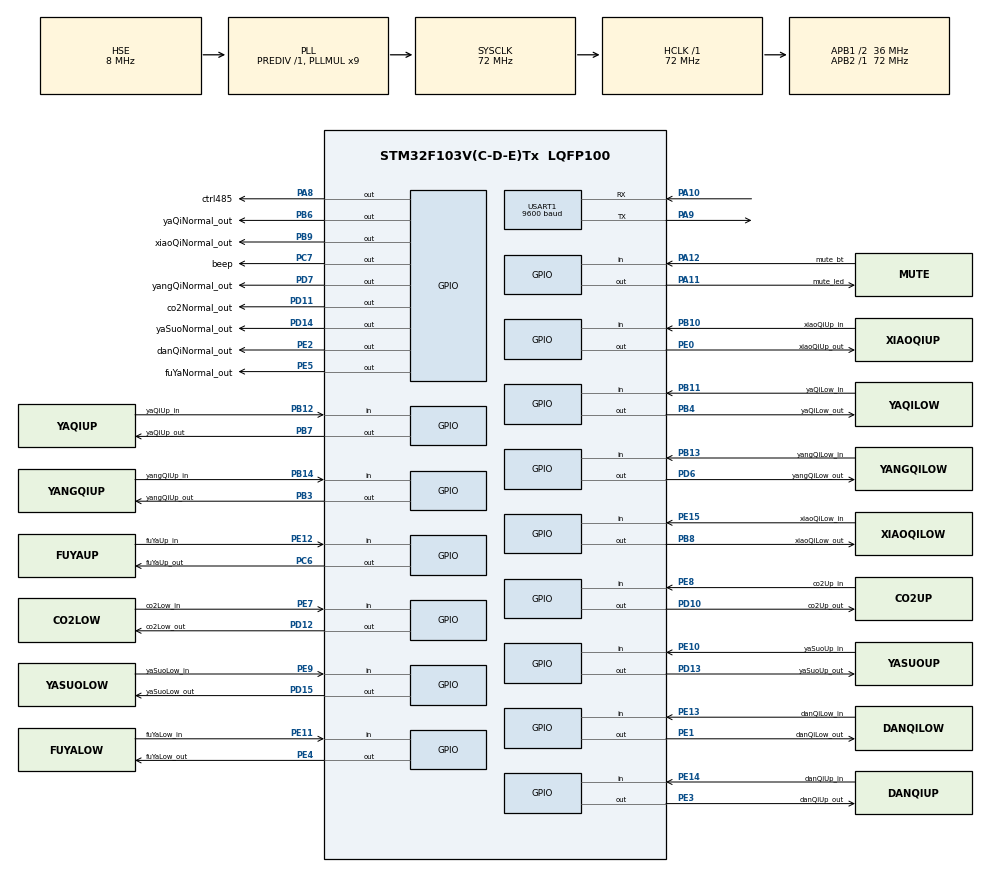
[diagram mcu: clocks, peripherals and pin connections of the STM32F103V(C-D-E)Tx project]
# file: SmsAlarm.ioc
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FREERTOS.HEAP_NUMBER=1
FREERTOS.Tasks01=defaultTask,0,128,StartDefaultTask,Default,NULL,Dynamic,NULL,NULL;myTask02,0,128,StartTask02,Default,NULL,Dynamic,NULL,NULL
Mcu.Family=STM32F1
Mcu.Name=STM32F103V(C-D-E)Tx
Mcu.Package=LQFP100
NVIC.PriorityGroup=NVIC_PRIORITYGROUP_4
NVIC.TIM3_IRQn=true\:5\:0\:false\:false\:true\:true\:true\:true
NVIC.TIM4_IRQn=true\:5\:0\:false\:false\:true\:true\:true\:true
NVIC.TIM5_IRQn=true\:0\:0\:false\:false\:true\:false\:false\:true
NVIC.TimeBase=TIM5_IRQn
NVIC.TimeBaseIP=TIM5
NVIC.USART1_IRQn=true\:5\:0\:false\:false\:true\:true\:true\:true
OSC_IN.Mode=HSE-External-Oscillator
OSC_IN.Signal=RCC_OSC_IN
OSC_OUT.Mode=HSE-External-Oscillator
OSC_OUT.Signal=RCC_OSC_OUT
PA10.Mode=Asynchronous
PA10.Signal=USART1_RX
PA11.GPIO_Label=mute_led
PA11.PinState=GPIO_PIN_SET
PA11.Signal=GPIO_Output
PA12.GPIO_Label=mute_bt
PA12.GPIO_PuPd=GPIO_PULLUP
PA12.Signal=GPIO_Input
PA13.Mode=Serial_Wire
PA13.Signal=SYS_JTMS-SWDIO
PA14.Mode=Serial_Wire
PA14.Signal=SYS_JTCK-SWCLK
PA8.GPIO_Label=ctrl485
PA8.PinState=GPIO_PIN_SET
PA8.Signal=GPIO_Output
PA9.Mode=Asynchronous
PA9.Signal=USART1_TX
PB10.GPIO_Label=xiaoQiUp_in
PB10.GPIO_PuPd=GPIO_PULLUP
PB10.Signal=GPIO_Input
PB11.GPIO_Label=yaQiLow_in
PB11.GPIO_PuPd=GPIO_PULLUP
PB11.Signal=GPIO_Input
PB12.GPIO_Label=yaQiUp_in
PB12.GPIO_PuPd=GPIO_PULLUP
PB12.Signal=GPIO_Input
PB13.GPIO_Label=yangQiLow_in
PB13.GPIO_PuPd=GPIO_PULLUP
PB13.Signal=GPIO_Input
PB14.GPIO_Label=yangQiUp_in
PB14.GPIO_PuPd=GPIO_PULLUP
PB14.Signal=GPIO_Input
PB3.GPIO_Label=yangQiUp_out
PB3.Signal=GPIO_Output
PB4.GPIO_Label=yaQiLow_out
PB4.Signal=GPIO_Output
PB6.GPIO_Label=yaQiNormal_out
PB6.Signal=GPIO_Output
PB7.GPIO_Label=yaQiUp_out
PB7.Signal=GPIO_Output
PB8.GPIO_Label=xiaoQiLow_out
PB8.Signal=GPIO_Output
PB9.GPIO_Label=xiaoQiNormal_out
PB9.Signal=GPIO_Output
PC6.GPIO_Label=fuYaUp_out
PC6.Signal=GPIO_Output
PC7.GPIO_Label=beep
PC7.PinState=GPIO_PIN_SET
PC7.Signal=GPIO_Output
PD10.GPIO_Label=co2Up_out
PD10.Signal=GPIO_Output
PD11.GPIO_Label=co2Normal_out
PD11.Signal=GPIO_Output
PD12.GPIO_Label=co2Low_out
PD12.Signal=GPIO_Output
PD13.GPIO_Label=yaSuoUp_out
PD13.Signal=GPIO_Output
PD14.GPIO_Label=yaSuoNormal_out
PD14.Signal=GPIO_Output
PD15.GPIO_Label=yaSuoLow_out
PD15.Signal=GPIO_Output
PD6.GPIO_Label=yangQiLow_out
PD6.Signal=GPIO_Output
PD7.GPIO_Label=yangQiNormal_out
PD7.Signal=GPIO_Output
PE0.GPIO_Label=xiaoQiUp_out
PE0.Signal=GPIO_Output
PE1.GPIO_Label=danQiLow_out
PE1.Signal=GPIO_Output
PE10.GPIO_Label=yaSuoUp_in
PE10.GPIO_PuPd=GPIO_PULLUP
PE10.Signal=GPIO_Input
PE11.GPIO_Label=fuYaLow_in
PE11.GPIO_PuPd=GPIO_PULLUP
PE11.Signal=GPIO_Input
PE12.GPIO_Label=fuYaUp_in
PE12.GPIO_PuPd=GPIO_PULLUP
PE12.Signal=GPIO_Input
PE13.GPIO_Label=danQiLow_in
PE13.GPIO_PuPd=GPIO_PULLUP
PE13.Signal=GPIO_Input
PE14.GPIO_Label=danQiUp_in
PE14.GPIO_PuPd=GPIO_PULLUP
PE14.Signal=GPIO_Input
PE15.GPIO_Label=xiaoQiLow_in
PE15.GPIO_PuPd=GPIO_PULLUP
PE15.Signal=GPIO_Input
PE2.GPIO_Label=danQiNormal_out
PE2.Signal=GPIO_Output
PE3.GPIO_Label=danQiUp_out
PE3.Signal=GPIO_Output
PE4.GPIO_Label=fuYaLow_out
PE4.Signal=GPIO_Output
PE5.GPIO_Label=fuYaNormal_out
PE5.Signal=GPIO_Output
PE7.GPIO_Label=co2Low_in
PE7.GPIO_PuPd=GPIO_PULLUP
PE7.Signal=GPIO_Input
PE8.GPIO_Label=co2Up_in
PE8.GPIO_PuPd=GPIO_PULLUP
PE8.Signal=GPIO_Input
PE9.GPIO_Label=yaSuoLow_in
PE9.GPIO_PuPd=GPIO_PULLUP
PE9.Signal=GPIO_Input
ProjectManager.HeapSize=0x200
ProjectManager.StackSize=0x400
ProjectManager.TargetToolchain=Other Toolchains (GPDSC)
RCC.AHBFreq_Value=72000000
RCC.APB1CLKDivider=RCC_HCLK_DIV2
RCC.APB1Freq_Value=36000000
RCC.APB1TimFreq_Value=72000000
RCC.APB2Freq_Value=72000000
RCC.APB2TimFreq_Value=72000000
RCC.HCLKFreq_Value=72000000
RCC.PLLMUL=RCC_PLL_MUL9
RCC.PLLSourceVirtual=RCC_PLLSOURCE_HSE
RCC.SYSCLKFreq_VALUE=72000000
RCC.SYSCLKSource=RCC_SYSCLKSOURCE_PLLCLK
RCC.USBFreq_Value=72000000
TIM3.Period=10000
TIM3.Prescaler=71
TIM4.Period=10000
TIM4.Prescaler=7100
USART1.BaudRate=9600
USART1.VirtualMode=VM_ASYNC
VP_FREERTOS_VS_CMSIS_V1.Mode=CMSIS_V1
VP_SYS_VS_tim5.Mode=TIM5
VP_TIM3_VS_ClockSourceINT.Mode=Internal
VP_TIM4_VS_ClockSourceINT.Mode=Internal
board=SmsAlarm

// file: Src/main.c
/* USER CODE BEGIN Header */
/**
  ******************************************************************************
  * @file           : main.c
  * @brief          : Main program body
  ******************************************************************************
  * @attention
  *
  * <h2><center>&copy; Copyright (c) 2019 STMicroelectronics.
  * All rights reserved.</center></h2>
  *
  * This software component is licensed by ST under Ultimate Liberty license
  * SLA0044, the "License"; You may not use this file except in compliance with
  * the License. You may obtain a copy of the License at:
  *                             www.st.com/SLA0044
  *
  ******************************************************************************
  */
/* USER CODE END Header */

#include "main.h"
#include "cmsis_os.h"
#include "tim.h"
#include "usart.h"
#include "gpio.h"

/* USER CODE BEGIN Includes */

//#include <stdlib.h>
//#include <string.h>
#include "smsAlarm.h"

/* USER CODE END Includes */

/* USER CODE BEGIN PV */
/* Private variables ---------------------------------------------------------*/

/* USER CODE END PV */

void SystemClock_Config(void);
void MX_FREERTOS_Init(void);
/* USER CODE BEGIN PFP */
/* Private function prototypes -----------------------------------------------*/

/* USER CODE END PFP */

/* USER CODE BEGIN 0 */

#define RS485Receive 	HAL_GPIO_WritePin(ctrl485_GPIO_Port,ctrl485_Pin,GPIO_PIN_RESET)
#define RS485Send			HAL_GPIO_WritePin(ctrl485_GPIO_Port,ctrl485_Pin,GPIO_PIN_SET)

#define BEEP_ON				HAL_GPIO_WritePin(beep_GPIO_Port,beep_Pin,GPIO_PIN_RESET)
#define BEEP_OFF			HAL_GPIO_WritePin(beep_GPIO_Port,beep_Pin,GPIO_PIN_SET)

void gasAlarm(void);
void muteStatus(void);
//void putInMQ(void);

const uint8_t KEY_TIME = 5;							//按键消抖延时时间 50ms

uint8_t keyLock;					//按键触发后自锁的变量标志
uint16_t keyTimeCount;				//按键去抖演示计数器
uint8_t keyStatus;					//按键状态   按下：1；抬起：0
uint8_t muteFlag;					//1:静音；0：有声音

/*

uint8_t yangQiUpCode = 0;
uint8_t yangQiNormalCode = 100;
uint8_t yangQiLowCode = 1;

uint8_t yaQiUpCode = 2;
uint8_t yaQiNormalCode = 102;
uint8_t yaQiLowCode = 3;

uint8_t xiaoQiUpCode = 4;
uint8_t xiaoQiNormalCode = 104;
uint8_t xiaoQiLowCode = 5;

uint8_t danQiUpCode = 6;
uint8_t danQiNormalCode = 106;
uint8_t danQiLowCode = 7;

uint8_t fuYaUpCode = 8;
uint8_t fuYaNormalCode = 108;
uint8_t fuYaLowCode = 9;

uint8_t yaSuoUpCode = 10;
uint8_t yaSuoNormalCode = 110;
uint8_t YaSuoLowCode = 11;

uint8_t co2UpCode = 12;
uint8_t co2NormalCode = 112;
uint8_t co2LowCode = 13;
*/

/*
struct node
{
	uint8_t data;
	struct node *pNext;
};

struct node * create_node(int data) {

	struct node *p = (struct node *)malloc(sizeof(struct node));
	if (NULL == p) {

		printf("malloc error.\n");
		return NULL;
	}
	//bzero(p,sizeof(struct node));
	memset(p, 0, sizeof(struct node));
	p->data = data;
	p->pNext = NULL;
	return p;

}
void insert_tail(struct node *pH, struct node *new) {

	struct node *p = pH;
	while (NULL != p->pNext) {

		p = p->pNext;
	}

	p->pNext = new;
}

struct node *pHeader;
*/

/* USER CODE END 0 */

int main(void)
{

  /* MCU Configuration--------------------------------------------------------*/

  /* Reset of all peripherals, Initializes the Flash interface and the Systick. */
  HAL_Init();

  /* Configure the system clock */
  SystemClock_Config();

  /* Initialize all configured peripherals */
  MX_GPIO_Init();
  MX_USART1_UART_Init();
  MX_TIM3_Init();
  MX_TIM4_Init();
  /* USER CODE BEGIN 2 */

	HAL_TIM_Base_Start_IT(&htim3);
	HAL_TIM_Base_Start_IT(&htim4);

	RS485Send;

	//pHeader = create_node(200);

	for (size_t i = 0; i < 14; i++)
	{
		highLevelCount[i] = 200;	//初始化高电平数据，防止上电一分钟后报 气体恢复
		countTime[i] = COUNT_TIME_START;
	}

  /* USER CODE END 2 */

  /* Call init function for freertos objects (in freertos.c) */
  MX_FREERTOS_Init();

  /* Start scheduler */
  osKernelStart();

  /* We should never get here as control is now taken by the scheduler */

  /* Infinite loop */
	while (1)
	{

    /* USER CODE BEGIN 3 */

	//	gasAlarm();
	//	muteStatus();
		//putInMQ();

	}
  /* USER CODE END 3 */
}

void SystemClock_Config(void)
{
  RCC_OscInitTypeDef RCC_OscInitStruct = {0};
  RCC_ClkInitTypeDef RCC_ClkInitStruct = {0};

  /** Initializes the CPU, AHB and APB busses clocks
  */
  RCC_OscInitStruct.OscillatorType = RCC_OSCILLATORTYPE_HSE;
  RCC_OscInitStruct.HSEState = RCC_HSE_ON;
  RCC_OscInitStruct.HSEPredivValue = RCC_HSE_PREDIV_DIV1;
  RCC_OscInitStruct.HSIState = RCC_HSI_ON;
  RCC_OscInitStruct.PLL.PLLState = RCC_PLL_ON;
  RCC_OscInitStruct.PLL.PLLSource = RCC_PLLSOURCE_HSE;
  RCC_OscInitStruct.PLL.PLLMUL = RCC_PLL_MUL9;
  if (HAL_RCC_OscConfig(&RCC_OscInitStruct) != HAL_OK)
  {
    Error_Handler();
  }
  /** Initializes the CPU, AHB and APB busses clocks
  */
  RCC_ClkInitStruct.ClockType = RCC_CLOCKTYPE_HCLK|RCC_CLOCKTYPE_SYSCLK
                              |RCC_CLOCKTYPE_PCLK1|RCC_CLOCKTYPE_PCLK2;
  RCC_ClkInitStruct.SYSCLKSource = RCC_SYSCLKSOURCE_PLLCLK;
  RCC_ClkInitStruct.AHBCLKDivider = RCC_SYSCLK_DIV1;
  RCC_ClkInitStruct.APB1CLKDivider = RCC_HCLK_DIV2;
  RCC_ClkInitStruct.APB2CLKDivider = RCC_HCLK_DIV1;

  if (HAL_RCC_ClockConfig(&RCC_ClkInitStruct, FLASH_LATENCY_2) != HAL_OK)
  {
    Error_Handler();
  }
}

/* USER CODE BEGIN 4 */

//根据按键设置指示灯和静音标志位
void muteStatus() {

	if (1 == keyStatus) {

		keyStatus = 0;
		if (1 == muteFlag) {
			muteFlag = 0;
			HAL_GPIO_WritePin(mute_led_GPIO_Port, mute_led_Pin, GPIO_PIN_SET);
		}
		else {

			muteFlag = 1;
			BEEP_OFF;
			HAL_GPIO_WritePin(mute_led_GPIO_Port, mute_led_Pin, GPIO_PIN_RESET);
		}
	}
}

/*
//把要发送的信息存入队列
void putInMQ() {

	for (uint8_t i = 0; i<14; i++) {

		if (gasStatusTemp[i] != gasStatus[i]) {

			gasStatusTemp[i] = gasStatus[i];
			if (1 == gasStatus[i]) {

				insert_tail(pHeader, create_node(i));

			}
			else {

				insert_tail(pHeader, create_node(i + 100));
			}
		}
	}
}

void sendMessege(char* alarmMsg) {		//根据报警内容发送短信

}

void judgeAlarmMessege(uint8_t code) {		//通过代号判断要发送的短信

	switch (code) {
	case 0:
		printf("氧气超压\n");
		break;
	case 1:
		printf("氧气欠压\n");
		break;
	case 100:
		printf("氧气恢复正常\n");
		break;
	case 101:
		printf("氧气恢复正常\n");
		break;

	default:break;

	}
}

void getOutMessege() {

	struct node *p = NULL;

	if (pHeader->pNext != NULL) {								//判断头节点之后的第一个节点是否是空

		p = pHeader->pNext;											//开始操作这个节点

		judgeAlarmMessege(p->data);					//通过代号判断要发送的短信

		if (NULL == p->pNext) {				//如果是尾节点

			pHeader->pNext = NULL;
			free(p);
		}
		else {

			pHeader->pNext = p->pNext;
			free(p);
		}
	}
}
*/

//按键扫描函数
void keyScan() {

	if (1 == HAL_GPIO_ReadPin(mute_bt_GPIO_Port, mute_bt_Pin))		//IO 是高电平，说明按键没有被按下，这时要及时清零一些标志位
	{
		keyLock = 0;			//按键自锁标志清零
		keyTimeCount = 0;		//按键去抖动延时计数器清零
	}
	else if (keyLock == 0)		//有按键按下，且是第一次被按下
	{
		keyTimeCount++;
		if (keyTimeCount > KEY_TIME)
		{
			keyTimeCount = 0;
			keyLock = 1;
			keyStatus = 1;
		}
	}

	/*

	if (1 == HAL_GPIO_ReadPin(yangQiUp_in_GPIO_Port, yangQiUp_in_Pin))		//IO 是高电平 对应没有报警状态  gasStatus[0] = 0;
	{

		lowLevelCount[0] = 0;

		if (highLevelCount[0] > 200) {
			highLevelCount[0] = 200;
		}
		highLevelCount[0]++;
		if (highLevelCount[0] > countTime) {
			gasStatus[0] = 0;
		}
	}
	else {

		highLevelCount[0] = 0;
		if (lowLevelCount[0] > 200) {
			lowLevelCount[0] = 200;
		}
		lowLevelCount[0]++;
		if (lowLevelCount[0] > countTime) {
			gasStatus[0] = 1;
		}
	}

	if (1 == HAL_GPIO_ReadPin(yangQiLow_in_GPIO_Port, yangQiLow_in_Pin))		//IO 是高电平 对应没有报警状态  gasStatus[0] = 0;
	{

		lowLevelCount[1] = 0;

		if (highLevelCount[1] > 200) {
			highLevelCount[1] = 200;
		}
		highLevelCount[1]++;
		if (highLevelCount[1] > countTime) {
			gasStatus[1] = 0;
		}
	}
	else {

		highLevelCount[1] = 0;
		if (lowLevelCount[1] > 200) {
			lowLevelCount[1] = 200;
		}
		lowLevelCount[1]++;
		if (lowLevelCount[1] > countTime) {
			gasStatus[1] = 1;
		}
	}

	if (1 == HAL_GPIO_ReadPin(yaQiUp_in_GPIO_Port, yaQiUp_in_Pin))		//IO 是高电平 对应没有报警状态  gasStatus[0] = 0;
	{

		lowLevelCount[2] = 0;

		if (highLevelCount[2] > 200) {
			highLevelCount[2] = 200;
		}
		highLevelCount[2]++;
		if (highLevelCount[2] > countTime) {
			gasStatus[2] = 0;
		}
	}
	else {

		highLevelCount[2] = 0;
		if (lowLevelCount[2] > 200) {
			lowLevelCount[2] = 200;
		}
		lowLevelCount[2]++;
		if (lowLevelCount[2] > countTime) {
			gasStatus[2] = 1;
		}
	}

	if (1 == HAL_GPIO_ReadPin(yaQiLow_in_GPIO_Port, yaQiLow_in_Pin))		//IO 是高电平 对应没有报警状态  gasStatus[0] = 0;
	{

		lowLevelCount[3] = 0;

		if (highLevelCount[3] > 200) {
			highLevelCount[3] = 200;
		}
		highLevelCount[3]++;
		if (highLevelCount[3] > countTime) {
			gasStatus[3] = 0;
		}
	}
	else {

		highLevelCount[3] = 0;
		if (lowLevelCount[3] > 200) {
			lowLevelCount[3] = 200;
		}
		lowLevelCount[3]++;
		if (lowLevelCount[3] > countTime) {
			gasStatus[3] = 1;
		}
	}

	if (1 == HAL_GPIO_ReadPin(xiaoQiUp_in_GPIO_Port, xiaoQiUp_in_Pin))		//IO 是高电平 对应没有报警状态  gasStatus[0] = 0;
	{

		lowLevelCount[4] = 0;

		if (highLevelCount[4] > 200) {
			highLevelCount[4] = 200;
		}
		highLevelCount[4]++;
		if (highLevelCount[4] > countTime) {
			gasStatus[4] = 0;
		}
	}
	else {

		highLevelCount[4] = 0;
		if (lowLevelCount[4] > 200) {
			lowLevelCount[4] = 200;
		}
		lowLevelCount[4]++;
		if (lowLevelCount[4] > countTime) {
			gasStatus[4] = 1;
		}
	}

	if (1 == HAL_GPIO_ReadPin(xiaoQiLow_in_GPIO_Port, xiaoQiLow_in_Pin))		//IO 是高电平 对应没有报警状态  gasStatus[0] = 0;
	{

		lowLevelCount[5] = 0;

		if (highLevelCount[5] > 200) {
			highLevelCount[5] = 200;
		}
		highLevelCount[5]++;
		if (highLevelCount[5] > countTime) {
			gasStatus[5] = 0;
		}
	}
	else {

		highLevelCount[5] = 0;
		if (lowLevelCount[5] > 200) {
			lowLevelCount[5] = 200;
		}
		lowLevelCount[5]++;
		if (lowLevelCount[5] > countTime) {
			gasStatus[5] = 1;
		}
	}

	if (1 == HAL_GPIO_ReadPin(danQiUp_in_GPIO_Port, danQiUp_in_Pin))		//IO 是高电平 对应没有报警状态  gasStatus[0] = 0;
	{

		lowLevelCount[6] = 0;

		if (highLevelCount[6] > 200) {
			highLevelCount[6] = 200;
		}
		highLevelCount[6]++;
		if (highLevelCount[6] > countTime) {
			gasStatus[6] = 0;
		}
	}
	else {

		highLevelCount[6] = 0;
		if (lowLevelCount[6] > 200) {
			lowLevelCount[6] = 200;
		}
		lowLevelCount[6]++;
		if (lowLevelCount[6] > countTime) {
			gasStatus[6] = 1;
		}
	}

	if (1 == HAL_GPIO_ReadPin(danQiLow_in_GPIO_Port, danQiLow_in_Pin))		//IO 是高电平 对应没有报警状态  gasStatus[0] = 0;
	{

		lowLevelCount[7] = 0;

		if (highLevelCount[7] > 200) {
			highLevelCount[7] = 200;
		}
		highLevelCount[7]++;
		if (highLevelCount[7] > countTime) {
			gasStatus[7] = 0;
		}
	}
	else {

		highLevelCount[7] = 0;
		if (lowLevelCount[7] > 200) {
			lowLevelCount[7] = 200;
		}
		lowLevelCount[7]++;
		if (lowLevelCount[7] > countTime) {
			gasStatus[7] = 1;
		}
	}

	if (1 == HAL_GPIO_ReadPin(fuYaUp_in_GPIO_Port, fuYaUp_in_Pin))		//IO 是高电平 对应没有报警状态  gasStatus[0] = 0;
	{

		lowLevelCount[8] = 0;

		if (highLevelCount[8] > 200) {
			highLevelCount[8] = 200;
		}
		highLevelCount[8]++;
		if (highLevelCount[8] > countTime) {
			gasStatus[8] = 0;
		}
	}
	else {

		highLevelCount[8] = 0;
		if (lowLevelCount[8] > 200) {
			lowLevelCount[8] = 200;
		}
		lowLevelCount[8]++;
		if (lowLevelCount[8] > countTime) {
			gasStatus[8] = 1;
		}
	}

	if (1 == HAL_GPIO_ReadPin(fuYaLow_in_GPIO_Port, fuYaLow_in_Pin))		//IO 是高电平 对应没有报警状态  gasStatus[0] = 0;
	{

		lowLevelCount[9] = 0;

		if (highLevelCount[9] > 200) {
			highLevelCount[9] = 200;
		}
		highLevelCount[9]++;
		if (highLevelCount[9] > countTime) {
			gasStatus[9] = 0;
		}
	}
	else {

		highLevelCount[9] = 0;
		if (lowLevelCount[9] > 200) {
			lowLevelCount[9] = 200;
		}
		lowLevelCount[9]++;
		if (lowLevelCount[9] > countTime) {
			gasStatus[9] = 1;
		}
	}

	if (1 == HAL_GPIO_ReadPin(yaSuoUp_in_GPIO_Port, yaSuoUp_in_Pin))		//IO 是高电平 对应没有报警状态  gasStatus[0] = 0;
	{

		lowLevelCount[10] = 0;

		if (highLevelCount[10] > 200) {
			highLevelCount[10] = 200;
		}
		highLevelCount[10]++;
		if (highLevelCount[10] > countTime) {
			gasStatus[10] = 0;
		}
	}
	else {

		highLevelCount[10] = 0;
		if (lowLevelCount[10] > 200) {
			lowLevelCount[10] = 200;
		}
		lowLevelCount[10]++;
		if (lowLevelCount[10] > countTime) {
			gasStatus[10] = 1;
		}
	}

	if (1 == HAL_GPIO_ReadPin(yaSuoLow_in_GPIO_Port, yaSuoLow_in_Pin))		//IO 是高电平 对应没有报警状态  gasStatus[0] = 0;
	{

		lowLevelCount[11] = 0;

		if (highLevelCount[11] > 200) {
			highLevelCount[11] = 200;
		}
		highLevelCount[11]++;
		if (highLevelCount[11] > countTime) {
			gasStatus[11] = 0;
		}
	}
	else {

		highLevelCount[11] = 0;
		if (lowLevelCount[11] > 200) {
			lowLevelCount[11] = 200;
		}
		lowLevelCount[11]++;
		if (lowLevelCount[11] > countTime) {
			gasStatus[11] = 1;
		}
	}

	if (1 == HAL_GPIO_ReadPin(co2Up_in_GPIO_Port, co2Up_in_Pin))		//IO 是高电平 对应没有报警状态  gasStatus[0] = 0;
	{

		lowLevelCount[12] = 0;

		if (highLevelCount[12] > 200) {
			highLevelCount[12] = 200;
		}
		highLevelCount[12]++;
		if (highLevelCount[12] > countTime) {
			gasStatus[12] = 0;
		}
	}
	else {

		highLevelCount[12] = 0;
		if (lowLevelCount[12] > 200) {
			lowLevelCount[12] = 200;
		}
		lowLevelCount[12]++;
		if (lowLevelCount[12] > countTime) {
			gasStatus[12] = 1;
		}
	}

	if (1 == HAL_GPIO_ReadPin(co2Low_in_GPIO_Port, co2Low_in_Pin))		//IO 是高电平 对应没有报警状态  gasStatus[0] = 0;
	{

		lowLevelCount[13] = 0;

		if (highLevelCount[13] > 200) {
			highLevelCount[13] = 200;
		}
		highLevelCount[13]++;
		if (highLevelCount[13] > countTime) {
			gasStatus[13] = 0;
		}
	}
	else {

		highLevelCount[13] = 0;
		if (lowLevelCount[13] > 200) {
			lowLevelCount[13] = 200;
		}
		lowLevelCount[13]++;
		if (lowLevelCount[13] > countTime) {
			gasStatus[13] = 1;
		}
	}
	*/
}

void gasAlarm() {

	if ((0 == HAL_GPIO_ReadPin(yangQiUp_in_GPIO_Port, yangQiUp_in_Pin)) || (0 == HAL_GPIO_ReadPin(yangQiLow_in_GPIO_Port, yangQiLow_in_Pin))) {										//氧气报警

		HAL_GPIO_WritePin(yangQiNormal_out_GPIO_Port, yangQiNormal_out_Pin, GPIO_PIN_RESET);

		if (0 == HAL_GPIO_ReadPin(yangQiUp_in_GPIO_Port, yangQiUp_in_Pin)) {
			HAL_GPIO_WritePin(yangQiUp_out_GPIO_Port, yangQiUp_out_Pin, GPIO_PIN_SET);
		}

		if (0 == HAL_GPIO_ReadPin(yangQiLow_in_GPIO_Port, yangQiLow_in_Pin)) {
			HAL_GPIO_WritePin(yangQiLow_out_GPIO_Port, yangQiLow_out_Pin, GPIO_PIN_SET);
		}

		if (0 == muteFlag) {

			BEEP_ON;
		}
	}
	else {
		HAL_GPIO_WritePin(yangQiNormal_out_GPIO_Port, yangQiNormal_out_Pin, GPIO_PIN_SET);
		HAL_GPIO_WritePin(yangQiUp_out_GPIO_Port, yangQiUp_out_Pin, GPIO_PIN_RESET);
		HAL_GPIO_WritePin(yangQiLow_out_GPIO_Port, yangQiLow_out_Pin, GPIO_PIN_RESET);

	}

	if ((0 == HAL_GPIO_ReadPin(yaQiUp_in_GPIO_Port, yaQiUp_in_Pin)) || (0 == HAL_GPIO_ReadPin(yaQiLow_in_GPIO_Port, yaQiLow_in_Pin))) {										//氩气报警

		HAL_GPIO_WritePin(yaQiNormal_out_GPIO_Port, yaQiNormal_out_Pin, GPIO_PIN_RESET);

		if (0 == HAL_GPIO_ReadPin(yaQiUp_in_GPIO_Port, yaQiUp_in_Pin)) {
			HAL_GPIO_WritePin(yaQiUp_out_GPIO_Port, yaQiUp_out_Pin, GPIO_PIN_SET);
		}

		if (0 == HAL_GPIO_ReadPin(yaQiLow_in_GPIO_Port, yaQiLow_in_Pin)) {
			HAL_GPIO_WritePin(yaQiLow_out_GPIO_Port, yaQiLow_out_Pin, GPIO_PIN_SET);
		}
		if (0 == muteFlag) {

			BEEP_ON;
		}

	}
	else {
		HAL_GPIO_WritePin(yaQiNormal_out_GPIO_Port, yaQiNormal_out_Pin, GPIO_PIN_SET);
		HAL_GPIO_WritePin(yaQiUp_out_GPIO_Port, yaQiUp_out_Pin, GPIO_PIN_RESET);
		HAL_GPIO_WritePin(yaQiLow_out_GPIO_Port, yaQiLow_out_Pin, GPIO_PIN_RESET);

	}

	if ((0 == HAL_GPIO_ReadPin(xiaoQiUp_in_GPIO_Port, xiaoQiUp_in_Pin)) || (0 == HAL_GPIO_ReadPin(xiaoQiLow_in_GPIO_Port, xiaoQiLow_in_Pin))) {										//笑气报警

		HAL_GPIO_WritePin(xiaoQiNormal_out_GPIO_Port, xiaoQiNormal_out_Pin, GPIO_PIN_RESET);

		if (0 == HAL_GPIO_ReadPin(xiaoQiUp_in_GPIO_Port, xiaoQiUp_in_Pin)) {
			HAL_GPIO_WritePin(xiaoQiUp_out_GPIO_Port, xiaoQiUp_out_Pin, GPIO_PIN_SET);
		}

		if (0 == HAL_GPIO_ReadPin(xiaoQiLow_in_GPIO_Port, xiaoQiLow_in_Pin)) {
			HAL_GPIO_WritePin(xiaoQiLow_out_GPIO_Port, xiaoQiLow_out_Pin, GPIO_PIN_SET);
		}

		if (0 == muteFlag) {

			BEEP_ON;
		}

	}
	else {
		HAL_GPIO_WritePin(xiaoQiNormal_out_GPIO_Port, xiaoQiNormal_out_Pin, GPIO_PIN_SET);
		HAL_GPIO_WritePin(xiaoQiUp_out_GPIO_Port, xiaoQiUp_out_Pin, GPIO_PIN_RESET);
		HAL_GPIO_WritePin(xiaoQiLow_out_GPIO_Port, xiaoQiLow_out_Pin, GPIO_PIN_RESET);

	}

	if ((0 == HAL_GPIO_ReadPin(danQiUp_in_GPIO_Port, danQiUp_in_Pin)) || (0 == HAL_GPIO_ReadPin(danQiLow_in_GPIO_Port, danQiLow_in_Pin))) {										//氮气报警

		HAL_GPIO_WritePin(danQiNormal_out_GPIO_Port, danQiNormal_out_Pin, GPIO_PIN_RESET);

		if (0 == HAL_GPIO_ReadPin(danQiUp_in_GPIO_Port, danQiUp_in_Pin)) {
			HAL_GPIO_WritePin(danQiUp_out_GPIO_Port, danQiUp_out_Pin, GPIO_PIN_SET);
		}

		if (0 == HAL_GPIO_ReadPin(danQiLow_in_GPIO_Port, danQiLow_in_Pin)) {
			HAL_GPIO_WritePin(danQiLow_out_GPIO_Port, danQiLow_out_Pin, GPIO_PIN_SET);
		}

		if (0 == muteFlag) {

			BEEP_ON;
		}

	}
	else {
		HAL_GPIO_WritePin(danQiNormal_out_GPIO_Port, danQiNormal_out_Pin, GPIO_PIN_SET);
		HAL_GPIO_WritePin(danQiUp_out_GPIO_Port, danQiUp_out_Pin, GPIO_PIN_RESET);
		HAL_GPIO_WritePin(danQiLow_out_GPIO_Port, danQiLow_out_Pin, GPIO_PIN_RESET);

	}

	if ((0 == HAL_GPIO_ReadPin(fuYaUp_in_GPIO_Port, fuYaUp_in_Pin)) || (0 == HAL_GPIO_ReadPin(fuYaLow_in_GPIO_Port, fuYaLow_in_Pin))) {										//负压报警

		HAL_GPIO_WritePin(fuYaNormal_out_GPIO_Port, fuYaNormal_out_Pin, GPIO_PIN_RESET);

		if (0 == HAL_GPIO_ReadPin(fuYaUp_in_GPIO_Port, fuYaUp_in_Pin)) {
			HAL_GPIO_WritePin(fuYaUp_out_GPIO_Port, fuYaUp_out_Pin, GPIO_PIN_SET);
		}

		if (0 == HAL_GPIO_ReadPin(fuYaLow_in_GPIO_Port, fuYaLow_in_Pin)) {
			HAL_GPIO_WritePin(fuYaLow_out_GPIO_Port, fuYaLow_out_Pin, GPIO_PIN_SET);
		}

		if (0 == muteFlag) {

			BEEP_ON;
		}

	}
	else {
		HAL_GPIO_WritePin(fuYaNormal_out_GPIO_Port, fuYaNormal_out_Pin, GPIO_PIN_SET);
		HAL_GPIO_WritePin(fuYaUp_out_GPIO_Port, fuYaUp_out_Pin, GPIO_PIN_RESET);
		HAL_GPIO_WritePin(fuYaLow_out_GPIO_Port, fuYaLow_out_Pin, GPIO_PIN_RESET);

	}

	if ((0 == HAL_GPIO_ReadPin(yaSuoUp_in_GPIO_Port, yaSuoUp_in_Pin)) || (0 == HAL_GPIO_ReadPin(yaSuoLow_in_GPIO_Port, yaSuoLow_in_Pin))) {										//压缩空气报警

		HAL_GPIO_WritePin(yaSuoNormal_out_GPIO_Port, yaSuoNormal_out_Pin, GPIO_PIN_RESET);

		if (0 == HAL_GPIO_ReadPin(yaSuoUp_in_GPIO_Port, yaSuoUp_in_Pin)) {
			HAL_GPIO_WritePin(yaSuoUp_out_GPIO_Port, yaSuoUp_out_Pin, GPIO_PIN_SET);
		}

		if (0 == HAL_GPIO_ReadPin(yaSuoLow_in_GPIO_Port, yaSuoLow_in_Pin)) {
			HAL_GPIO_WritePin(yaSuoLow_out_GPIO_Port, yaSuoLow_out_Pin, GPIO_PIN_SET);
		}

		if (0 == muteFlag) {

			BEEP_ON;
		}

	}
	else {
		HAL_GPIO_WritePin(yaSuoNormal_out_GPIO_Port, yaSuoNormal_out_Pin, GPIO_PIN_SET);
		HAL_GPIO_WritePin(yaSuoUp_out_GPIO_Port, yaSuoUp_out_Pin, GPIO_PIN_RESET);
		HAL_GPIO_WritePin(yaSuoLow_out_GPIO_Port, yaSuoLow_out_Pin, GPIO_PIN_RESET);

	}

	if ((0 == HAL_GPIO_ReadPin(co2Up_in_GPIO_Port, co2Up_in_Pin)) || (0 == HAL_GPIO_ReadPin(co2Low_in_GPIO_Port, co2Low_in_Pin))) {										//CO2报警

		HAL_GPIO_WritePin(co2Normal_out_GPIO_Port, co2Normal_out_Pin, GPIO_PIN_RESET);

		if (0 == HAL_GPIO_ReadPin(co2Up_in_GPIO_Port, co2Up_in_Pin)) {
			HAL_GPIO_WritePin(co2Up_out_GPIO_Port, co2Up_out_Pin, GPIO_PIN_SET);
		}

		if (0 == HAL_GPIO_ReadPin(co2Low_in_GPIO_Port, co2Low_in_Pin)) {
			HAL_GPIO_WritePin(co2Low_out_GPIO_Port, co2Low_out_Pin, GPIO_PIN_SET);
		}

		if (0 == muteFlag) {

			BEEP_ON;
		}

	}
	else {
		HAL_GPIO_WritePin(co2Normal_out_GPIO_Port, co2Normal_out_Pin, GPIO_PIN_SET);
		HAL_GPIO_WritePin(co2Up_out_GPIO_Port, co2Up_out_Pin, GPIO_PIN_RESET);
		HAL_GPIO_WritePin(co2Low_out_GPIO_Port, co2Low_out_Pin, GPIO_PIN_RESET);
	}

	if ((1 == HAL_GPIO_ReadPin(yangQiUp_in_GPIO_Port, yangQiUp_in_Pin)) && (HAL_GPIO_ReadPin(yangQiLow_in_GPIO_Port, yangQiLow_in_Pin)) &&
		(1 == HAL_GPIO_ReadPin(yaQiUp_in_GPIO_Port, yaQiUp_in_Pin)) && (HAL_GPIO_ReadPin(yaQiLow_in_GPIO_Port, yaQiLow_in_Pin)) &&
		(1 == HAL_GPIO_ReadPin(xiaoQiUp_in_GPIO_Port, xiaoQiUp_in_Pin)) && (HAL_GPIO_ReadPin(xiaoQiLow_in_GPIO_Port, xiaoQiLow_in_Pin)) &&
		(1 == HAL_GPIO_ReadPin(danQiUp_in_GPIO_Port, danQiUp_in_Pin)) && (HAL_GPIO_ReadPin(danQiLow_in_GPIO_Port, danQiLow_in_Pin)) &&
		(1 == HAL_GPIO_ReadPin(fuYaUp_in_GPIO_Port, fuYaUp_in_Pin)) && (HAL_GPIO_ReadPin(fuYaLow_in_GPIO_Port, fuYaLow_in_Pin)) &&
		(1 == HAL_GPIO_ReadPin(yaSuoUp_in_GPIO_Port, yaSuoUp_in_Pin)) && (HAL_GPIO_ReadPin(yaSuoLow_in_GPIO_Port, yaSuoLow_in_Pin)) &&
		(1 == HAL_GPIO_ReadPin(co2Up_in_GPIO_Port, co2Up_in_Pin)) && (HAL_GPIO_ReadPin(co2Low_in_GPIO_Port, co2Low_in_Pin))
		) {

		BEEP_OFF;
	}

}

/* USER CODE END 4 */

void HAL_TIM_PeriodElapsedCallback(TIM_HandleTypeDef *htim)
{
  /* USER CODE BEGIN Callback 0 */

	if (htim->Instance == TIM3) {	//10ms 定时器
		keyScan();
	}

	if (htim->Instance == TIM4) {	//1s定时器
	//	alarmScan();
	}

  /* USER CODE END Callback 0 */
  if (htim->Instance == TIM5) {
    HAL_IncTick();
  }
}

void Error_Handler(void)
{
	while (1)
	{
	}
}

/************************ (C) COPYRIGHT STMicroelectronics *****END OF FILE****/

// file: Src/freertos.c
/* USER CODE BEGIN Header */
/**
  ******************************************************************************
  * File Name          : freertos.c
  * Description        : Code for freertos applications
  ******************************************************************************
  * @attention
  *
  * <h2><center>&copy; Copyright (c) 2019 STMicroelectronics.
  * All rights reserved.</center></h2>
  *
  * This software component is licensed by ST under Ultimate Liberty license
  * SLA0044, the "License"; You may not use this file except in compliance with
  * the License. You may obtain a copy of the License at:
  *                             www.st.com/SLA0044
  *
  ******************************************************************************
  */
/* USER CODE END Header */

#include "FreeRTOS.h"
#include "task.h"
#include "main.h"
#include "cmsis_os.h"

/* USER CODE BEGIN Includes */

#include "smsAlarm.h"

/* USER CODE END Includes */

osThreadId defaultTaskHandle;
osThreadId myTask02Handle;

void StartDefaultTask(void const * argument);
void StartTask02(void const * argument);

void MX_FREERTOS_Init(void); /* (MISRA C 2004 rule 8.1) */

void MX_FREERTOS_Init(void) {

  /* Create the thread(s) */
  /* definition and creation of defaultTask */
  osThreadDef(defaultTask, StartDefaultTask, osPriorityNormal, 0, 128);
  defaultTaskHandle = osThreadCreate(osThread(defaultTask), NULL);

  /* definition and creation of myTask02 */
  osThreadDef(myTask02, StartTask02, osPriorityNormal, 0, 128);
  myTask02Handle = osThreadCreate(osThread(myTask02), NULL);

}

void StartDefaultTask(void const * argument)
{

  /* USER CODE BEGIN StartDefaultTask */
  /* Infinite loop */
  for(;;)
  {
    osDelay(100);
	gasAlarm();
	muteStatus();
  }
  /* USER CODE END StartDefaultTask */
}

void StartTask02(void const * argument)
{
  /* USER CODE BEGIN StartTask02 */
  /* Infinite loop */
  for(;;)
  {
	alarmScan();
    osDelay(1000);

  }
  /* USER CODE END StartTask02 */
}

/************************ (C) COPYRIGHT STMicroelectronics *****END OF FILE****/
